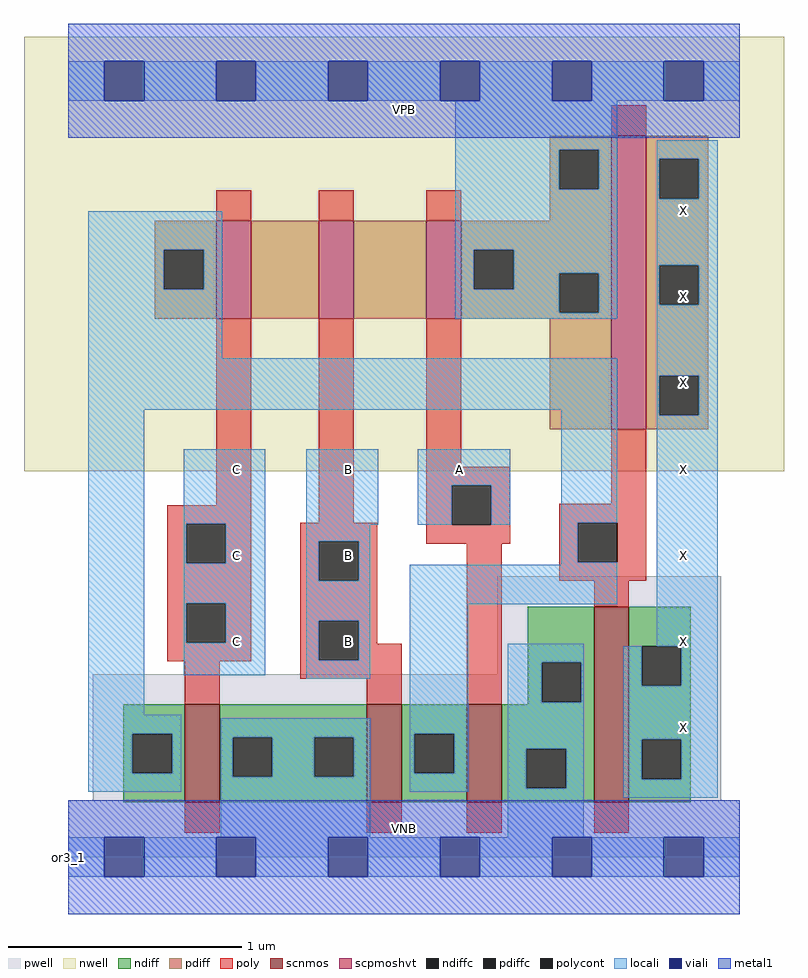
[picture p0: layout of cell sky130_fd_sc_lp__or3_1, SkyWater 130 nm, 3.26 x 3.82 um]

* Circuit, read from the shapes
.subckt sky130_fd_sc_lp__or3_1 A B C VGND VNB VPB VPWR X
XM1 VGND C n1 VNB sky130_fd_pr__nfet_01v8 w=0.42 l=0.15
XM2 n1 B VGND VNB sky130_fd_pr__nfet_01v8 w=0.42 l=0.15
XM3 VGND A n1 VNB sky130_fd_pr__nfet_01v8 w=0.42 l=0.15
XM4 X n1 VGND VNB sky130_fd_pr__nfet_01v8 w=0.84 l=0.15
XM5 n2 C n1 VPB sky130_fd_pr__pfet_01v8_hvt w=0.42 l=0.15
XM6 n3 B n2 VPB sky130_fd_pr__pfet_01v8_hvt w=0.42 l=0.15
XM7 VPWR A n3 VPB sky130_fd_pr__pfet_01v8_hvt w=0.42 l=0.15
XM8 X n1 VPWR VPB sky130_fd_pr__pfet_01v8_hvt w=1.26 l=0.15
.ends

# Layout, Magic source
magic
tech sky130A
magscale 1 2
<< nwell >>
rect -38 331 614 704
<< pwell >>
rect 368 157 560 241
rect 21 49 560 157
rect 0 0 576 49
<< scnmos >>
rect 100 47 130 131
rect 256 47 286 131
rect 342 47 372 131
rect 451 47 481 215
<< scpmoshvt >>
rect 127 462 157 546
rect 215 462 245 546
rect 307 462 337 546
rect 466 367 496 619
<< ndiff >>
rect 394 167 451 215
rect 394 133 406 167
rect 440 133 451 167
rect 394 131 451 133
rect 47 106 100 131
rect 47 72 55 106
rect 89 72 100 106
rect 47 47 100 72
rect 130 103 256 131
rect 130 69 141 103
rect 175 69 211 103
rect 245 69 256 103
rect 130 47 256 69
rect 286 106 342 131
rect 286 72 297 106
rect 331 72 342 106
rect 286 47 342 72
rect 372 93 451 131
rect 372 59 393 93
rect 427 59 451 93
rect 372 47 451 59
rect 481 181 534 215
rect 481 147 492 181
rect 526 147 534 181
rect 481 101 534 147
rect 481 67 492 101
rect 526 67 534 101
rect 481 47 534 67
<< pdiff >>
rect 413 607 466 619
rect 413 573 421 607
rect 455 573 466 607
rect 413 546 466 573
rect 74 521 127 546
rect 74 487 82 521
rect 116 487 127 521
rect 74 462 127 487
rect 157 462 215 546
rect 245 462 307 546
rect 337 521 466 546
rect 337 487 348 521
rect 382 501 466 521
rect 382 487 421 501
rect 337 467 421 487
rect 455 467 466 501
rect 337 462 466 467
rect 413 367 466 462
rect 496 599 549 619
rect 496 565 507 599
rect 541 565 549 599
rect 496 508 549 565
rect 496 474 507 508
rect 541 474 549 508
rect 496 413 549 474
rect 496 379 507 413
rect 541 379 549 413
rect 496 367 549 379
<< ndiffc >>
rect 406 133 440 167
rect 55 72 89 106
rect 141 69 175 103
rect 211 69 245 103
rect 297 72 331 106
rect 393 59 427 93
rect 492 147 526 181
rect 492 67 526 101
<< pdiffc >>
rect 421 573 455 607
rect 82 487 116 521
rect 348 487 382 521
rect 421 467 455 501
rect 507 565 541 599
rect 507 474 541 508
rect 507 379 541 413
<< poly >>
rect 466 619 496 645
rect 127 546 157 572
rect 215 546 245 572
rect 307 546 337 572
rect 127 302 157 462
rect 85 286 157 302
rect 215 287 245 462
rect 307 335 337 462
rect 307 319 379 335
rect 85 252 101 286
rect 135 252 157 286
rect 85 218 157 252
rect 85 184 101 218
rect 135 184 157 218
rect 85 168 157 184
rect 199 271 265 287
rect 199 237 215 271
rect 249 237 265 271
rect 307 285 329 319
rect 363 285 379 319
rect 466 303 496 367
rect 307 269 379 285
rect 421 287 496 303
rect 199 203 265 237
rect 199 169 215 203
rect 249 183 265 203
rect 249 169 286 183
rect 100 131 130 168
rect 199 153 286 169
rect 256 131 286 153
rect 342 131 372 269
rect 421 253 437 287
rect 471 253 496 287
rect 421 237 496 253
rect 451 215 481 237
rect 100 21 130 47
rect 256 21 286 47
rect 342 21 372 47
rect 451 21 481 47
<< polycont >>
rect 101 252 135 286
rect 101 184 135 218
rect 215 237 249 271
rect 329 285 363 319
rect 215 169 249 203
rect 437 253 471 287
<< locali >>
rect 0 649 31 683
rect 65 649 127 683
rect 161 649 223 683
rect 257 649 319 683
rect 353 649 415 683
rect 449 649 511 683
rect 545 649 576 683
rect 332 607 471 649
rect 332 573 421 607
rect 455 573 471 607
rect 17 521 132 554
rect 17 487 82 521
rect 116 487 132 521
rect 17 428 132 487
rect 332 521 471 573
rect 332 487 348 521
rect 382 501 471 521
rect 382 487 421 501
rect 332 467 421 487
rect 455 467 471 501
rect 332 462 471 467
rect 505 599 557 615
rect 505 565 507 599
rect 541 565 557 599
rect 505 508 557 565
rect 505 474 507 508
rect 541 474 557 508
rect 17 384 471 428
rect 17 122 65 384
rect 99 286 169 350
rect 99 252 101 286
rect 135 252 169 286
rect 99 218 169 252
rect 99 184 101 218
rect 135 184 169 218
rect 99 156 169 184
rect 204 285 266 350
rect 300 319 379 350
rect 300 285 329 319
rect 363 285 379 319
rect 423 287 471 384
rect 204 271 259 285
rect 204 237 215 271
rect 249 237 259 271
rect 423 253 437 287
rect 423 251 471 253
rect 204 203 259 237
rect 204 169 215 203
rect 249 169 259 203
rect 204 153 259 169
rect 293 217 471 251
rect 505 413 557 474
rect 505 379 507 413
rect 541 379 557 413
rect 17 106 97 122
rect 17 72 55 106
rect 89 72 97 106
rect 17 56 97 72
rect 131 103 259 119
rect 131 69 141 103
rect 175 69 211 103
rect 245 69 259 103
rect 131 17 259 69
rect 293 106 343 217
rect 293 72 297 106
rect 331 72 343 106
rect 293 56 343 72
rect 377 167 442 183
rect 505 181 557 379
rect 377 133 406 167
rect 440 133 442 167
rect 377 93 442 133
rect 377 59 393 93
rect 427 59 442 93
rect 377 17 442 59
rect 476 147 492 181
rect 526 147 557 181
rect 476 101 557 147
rect 476 67 492 101
rect 526 67 557 101
rect 476 51 557 67
rect 0 -17 31 17
rect 65 -17 127 17
rect 161 -17 223 17
rect 257 -17 319 17
rect 353 -17 415 17
rect 449 -17 511 17
rect 545 -17 576 17
<< viali >>
rect 31 649 65 683
rect 127 649 161 683
rect 223 649 257 683
rect 319 649 353 683
rect 415 649 449 683
rect 511 649 545 683
rect 31 -17 65 17
rect 127 -17 161 17
rect 223 -17 257 17
rect 319 -17 353 17
rect 415 -17 449 17
rect 511 -17 545 17
<< metal1 >>
rect 0 683 576 715
rect 0 649 31 683
rect 65 649 127 683
rect 161 649 223 683
rect 257 649 319 683
rect 353 649 415 683
rect 449 649 511 683
rect 545 649 576 683
rect 0 617 576 649
rect 0 17 576 49
rect 0 -17 31 17
rect 65 -17 127 17
rect 161 -17 223 17
rect 257 -17 319 17
rect 353 -17 415 17
rect 449 -17 511 17
rect 545 -17 576 17
rect 0 -49 576 -17
<< labels >>
flabel pwell s 0 0 576 49 0 FreeSans 200 0 0 0 VNB
port 5 nsew ground bidirectional
flabel nwell s 0 617 576 666 0 FreeSans 200 0 0 0 VPB
port 6 nsew power bidirectional
rlabel comment s 0 0 0 0 4 or3_1
flabel metal1 s 0 617 576 666 0 FreeSans 340 0 0 0 VPWR
port 7 nsew power bidirectional
flabel metal1 s 0 0 576 49 0 FreeSans 340 0 0 0 VGND
port 4 nsew ground bidirectional
flabel locali s 127 168 161 202 0 FreeSans 340 0 0 0 C
port 3 nsew signal input
flabel locali s 127 242 161 276 0 FreeSans 340 0 0 0 C
port 3 nsew signal input
flabel locali s 127 316 161 350 0 FreeSans 340 0 0 0 C
port 3 nsew signal input
flabel locali s 511 94 545 128 0 FreeSans 340 0 0 0 X
port 8 nsew signal output
flabel locali s 511 168 545 202 0 FreeSans 340 0 0 0 X
port 8 nsew signal output
flabel locali s 511 242 545 276 0 FreeSans 340 0 0 0 X
port 8 nsew signal output
flabel locali s 511 316 545 350 0 FreeSans 340 0 0 0 X
port 8 nsew signal output
flabel locali s 511 390 545 424 0 FreeSans 340 0 0 0 X
port 8 nsew signal output
flabel locali s 511 464 545 498 0 FreeSans 340 0 0 0 X
port 8 nsew signal output
flabel locali s 511 538 545 572 0 FreeSans 340 0 0 0 X
port 8 nsew signal output
flabel locali s 319 316 353 350 0 FreeSans 340 0 0 0 A
port 1 nsew signal input
flabel locali s 223 168 257 202 0 FreeSans 340 0 0 0 B
port 2 nsew signal input
flabel locali s 223 242 257 276 0 FreeSans 340 0 0 0 B
port 2 nsew signal input
flabel locali s 223 316 257 350 0 FreeSans 340 0 0 0 B
port 2 nsew signal input
<< properties >>
string LEFsite unit
string LEFclass CORE
string FIXED_BBOX 0 0 576 666
string GDS_FILE $PDKPATH/libs.ref/sky130_fd_sc_lp/gds/sky130_fd_sc_lp.gds
string LEFsymmetry X Y R90
string GDS_END 3196136
string GDS_START 3189672
<< end >>
